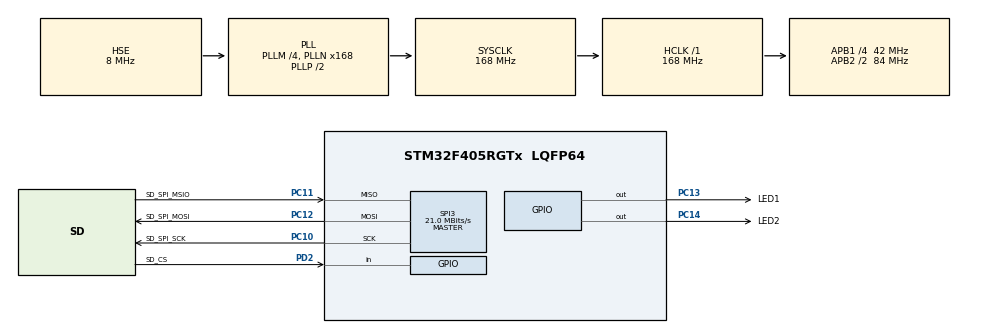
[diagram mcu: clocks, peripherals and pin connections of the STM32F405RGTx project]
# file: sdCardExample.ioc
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FREERTOS.INCLUDE_vTaskDelayUntil=1
FREERTOS.Tasks01=defaultTask,0,128,StartDefaultTask,Default,NULL
Mcu.Family=STM32F4
Mcu.Name=STM32F405RGTx
Mcu.Package=LQFP64
NVIC.PriorityGroup=NVIC_PRIORITYGROUP_4
NVIC.TIM1_UP_TIM10_IRQn=true\:0\:0\:false\:false\:true\:false\:false
NVIC.TimeBase=TIM1_UP_TIM10_IRQn
NVIC.TimeBaseIP=TIM1
PC10.GPIO_Label=SD_SPI_SCK
PC10.Mode=Full_Duplex_Master
PC10.Signal=SPI3_SCK
PC11.GPIO_Label=SD_SPI_MSIO
PC11.Mode=Full_Duplex_Master
PC11.Signal=SPI3_MISO
PC12.GPIO_Label=SD_SPI_MOSI
PC12.Mode=Full_Duplex_Master
PC12.Signal=SPI3_MOSI
PC13-ANTI_TAMP.GPIO_Label=LED1
PC13-ANTI_TAMP.Signal=GPIO_Output
PC14-OSC32_IN.GPIO_Label=LED2
PC14-OSC32_IN.Signal=GPIO_Output
PD2.GPIO_Label=SD_CS
PD2.Signal=GPIO_Input
PH0-OSC_IN.Mode=HSE-External-Oscillator
PH0-OSC_IN.Signal=RCC_OSC_IN
PH1-OSC_OUT.Mode=HSE-External-Oscillator
PH1-OSC_OUT.Signal=RCC_OSC_OUT
ProjectManager.HeapSize=0x200
ProjectManager.StackSize=0x400
ProjectManager.TargetToolchain=SW4STM32
RCC.48MHZClocksFreq_Value=84000000
RCC.AHBFreq_Value=168000000
RCC.APB1CLKDivider=RCC_HCLK_DIV4
RCC.APB1Freq_Value=42000000
RCC.APB1TimFreq_Value=84000000
RCC.APB2CLKDivider=RCC_HCLK_DIV2
RCC.APB2Freq_Value=84000000
RCC.APB2TimFreq_Value=168000000
RCC.CortexFreq_Value=168000000
RCC.HCLKFreq_Value=168000000
RCC.HSE_VALUE=8000000
RCC.HSI_VALUE=16000000
RCC.LSE_VALUE=32768
RCC.PLLM=4
RCC.PLLN=168
RCC.PLLSourceVirtual=RCC_PLLSOURCE_HSE
RCC.SYSCLKFreq_VALUE=168000000
RCC.SYSCLKSource=RCC_SYSCLKSOURCE_PLLCLK
RCC.VCOOutputFreq_Value=336000000
SPI3.CalculateBaudRate=21.0 MBits/s
SPI3.Direction=SPI_DIRECTION_2LINES
SPI3.Mode=SPI_MODE_MASTER
SPI3.VirtualType=VM_MASTER
VP_FREERTOS_VS_ENABLE.Mode=Enabled
VP_SYS_VS_tim1.Mode=TIM1
board=sdCardExample

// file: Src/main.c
/**
  ******************************************************************************
  * @file           : main.c
  * @brief          : Main program body
  ******************************************************************************
  * This notice applies to any and all portions of this file
  * that are not between comment pairs USER CODE BEGIN and
  * USER CODE END. Other portions of this file, whether
  * inserted by the user or by software development tools
  * are owned by their respective copyright owners.
  *
  * Copyright (c) 2018 STMicroelectronics International N.V.
  * All rights reserved.
  *
  * Redistribution and use in source and binary forms, with or without
  * modification, are permitted, provided that the following conditions are met:
  *
  * 1. Redistribution of source code must retain the above copyright notice,
  *    this list of conditions and the following disclaimer.
  * 2. Redistributions in binary form must reproduce the above copyright notice,
  *    this list of conditions and the following disclaimer in the documentation
  *    and/or other materials provided with the distribution.
  * 3. Neither the name of STMicroelectronics nor the names of other
  *    contributors to this software may be used to endorse or promote products
  *    derived from this software without specific written permission.
  * 4. This software, including modifications and/or derivative works of this
  *    software, must execute solely and exclusively on microcontroller or
  *    microprocessor devices manufactured by or for STMicroelectronics.
  * 5. Redistribution and use of this software other than as permitted under
  *    this license is void and will automatically terminate your rights under
  *    this license.
  *
  * THIS SOFTWARE IS PROVIDED BY STMICROELECTRONICS AND CONTRIBUTORS "AS IS"
  * AND ANY EXPRESS, IMPLIED OR STATUTORY WARRANTIES, INCLUDING, BUT NOT
  * LIMITED TO, THE IMPLIED WARRANTIES OF MERCHANTABILITY, FITNESS FOR A
  * PARTICULAR PURPOSE AND NON-INFRINGEMENT OF THIRD PARTY INTELLECTUAL PROPERTY
  * RIGHTS ARE DISCLAIMED TO THE FULLEST EXTENT PERMITTED BY LAW. IN NO EVENT
  * SHALL STMICROELECTRONICS OR CONTRIBUTORS BE LIABLE FOR ANY DIRECT, INDIRECT,
  * INCIDENTAL, SPECIAL, EXEMPLARY, OR CONSEQUENTIAL DAMAGES (INCLUDING, BUT NOT
  * LIMITED TO, PROCUREMENT OF SUBSTITUTE GOODS OR SERVICES; LOSS OF USE, DATA,
  * OR PROFITS; OR BUSINESS INTERRUPTION) HOWEVER CAUSED AND ON ANY THEORY OF
  * LIABILITY, WHETHER IN CONTRACT, STRICT LIABILITY, OR TORT (INCLUDING
  * NEGLIGENCE OR OTHERWISE) ARISING IN ANY WAY OUT OF THE USE OF THIS SOFTWARE,
  * EVEN IF ADVISED OF THE POSSIBILITY OF SUCH DAMAGE.
  *
  ******************************************************************************
  */
#include "main.h"
#include "stm32f4xx_hal.h"
#include "cmsis_os.h"

#include "defines.h"
#include "tm_stm32_delay.h"
#include "tm_stm32_fatfs.h"

#include <stdio.h>

uint8_t response = 0x25;
SPI_HandleTypeDef hspi3;

osThreadId defaultTaskHandle;

/* USER CODE BEGIN PV */
/* Private variables ---------------------------------------------------------*/
/* Fatfs object */
FATFS FS;
FIL fil;
FRESULT fres;
TM_FATFS_Size_t CardSize;
char buffer[100];

/* USER CODE END PV */

void SystemClock_Config(void);
static void MX_GPIO_Init(void);
static void MX_SPI3_Init(void);
void StartDefaultTask(void const * argument);

/* USER CODE BEGIN PFP */
/* Private function prototypes -----------------------------------------------*/

/* USER CODE END PFP */

int main(void)
{

  /* MCU Configuration----------------------------------------------------------*/

  /* Reset of all peripherals, Initializes the Flash interface and the Systick. */
  HAL_Init();

  /* Configure the system clock */
  SystemClock_Config();

  /* Initialize all configured peripherals */
  MX_GPIO_Init();
  MX_SPI3_Init();
  /* USER CODE BEGIN 2 */
  HAL_GPIO_WritePin(LED1_GPIO_Port, LED1_Pin, 0);
  // HAL_GPIO_WritePin(SD_CS_GPIO_Port, SD_CS_Pin, 0);

  if (f_mount(&FS, "SD:", 1) == FR_OK) {
    HAL_GPIO_WritePin(LED1_GPIO_Port, LED1_Pin, 1);
    if ((fres = f_open(&fil, "SD:first_file.txt", FA_OPEN_ALWAYS | FA_READ | FA_WRITE)) == FR_OK) {
        // Read SDCARD size
        TM_FATFS_GetDriveSize("SD:", &CardSize);
        // Format string
        sprintf(buffer, "BITCH Total card size: %u kBytes\n", CardSize.Total);
        // Write total card size to file
        f_puts(buffer, &fil);
        // Format string for free card size
        sprintf(buffer, "Free card size:  %u kBytes\n", CardSize.Free);
        // Write free card size to file
        f_puts(buffer, &fil);
        // Close file
        f_close(&fil);
    }
    f_mount(NULL, "SD:", 1);
  }

  /* USER CODE END 2 */

  /* Create the thread(s) */
  /* definition and creation of defaultTask */
  osThreadDef(defaultTask, StartDefaultTask, osPriorityNormal, 0, 128);
  defaultTaskHandle = osThreadCreate(osThread(defaultTask), NULL);

  /* Start scheduler */
  osKernelStart();

  /* We should never get here as control is now taken by the scheduler */

  /* Infinite loop */
  while (1)
  {

  }

}

void SystemClock_Config(void)
{

  RCC_OscInitTypeDef RCC_OscInitStruct;
  RCC_ClkInitTypeDef RCC_ClkInitStruct;

    /**Configure the main internal regulator output voltage
    */
  __HAL_RCC_PWR_CLK_ENABLE();

  __HAL_PWR_VOLTAGESCALING_CONFIG(PWR_REGULATOR_VOLTAGE_SCALE1);

    /**Initializes the CPU, AHB and APB busses clocks
    */
  RCC_OscInitStruct.OscillatorType = RCC_OSCILLATORTYPE_HSE;
  RCC_OscInitStruct.HSEState = RCC_HSE_ON;
  RCC_OscInitStruct.PLL.PLLState = RCC_PLL_ON;
  RCC_OscInitStruct.PLL.PLLSource = RCC_PLLSOURCE_HSE;
  RCC_OscInitStruct.PLL.PLLM = 4;
  RCC_OscInitStruct.PLL.PLLN = 168;
  RCC_OscInitStruct.PLL.PLLP = RCC_PLLP_DIV2;
  RCC_OscInitStruct.PLL.PLLQ = 4;
  if (HAL_RCC_OscConfig(&RCC_OscInitStruct) != HAL_OK)
  {
    _Error_Handler(__FILE__, __LINE__);
  }

    /**Initializes the CPU, AHB and APB busses clocks
    */
  RCC_ClkInitStruct.ClockType = RCC_CLOCKTYPE_HCLK|RCC_CLOCKTYPE_SYSCLK
                              |RCC_CLOCKTYPE_PCLK1|RCC_CLOCKTYPE_PCLK2;
  RCC_ClkInitStruct.SYSCLKSource = RCC_SYSCLKSOURCE_PLLCLK;
  RCC_ClkInitStruct.AHBCLKDivider = RCC_SYSCLK_DIV1;
  RCC_ClkInitStruct.APB1CLKDivider = RCC_HCLK_DIV4;
  RCC_ClkInitStruct.APB2CLKDivider = RCC_HCLK_DIV2;

  if (HAL_RCC_ClockConfig(&RCC_ClkInitStruct, FLASH_LATENCY_5) != HAL_OK)
  {
    _Error_Handler(__FILE__, __LINE__);
  }

    /**Configure the Systick interrupt time
    */
  HAL_SYSTICK_Config(HAL_RCC_GetHCLKFreq()/1000);

    /**Configure the Systick
    */
  HAL_SYSTICK_CLKSourceConfig(SYSTICK_CLKSOURCE_HCLK);

  /* SysTick_IRQn interrupt configuration */
  HAL_NVIC_SetPriority(SysTick_IRQn, 15, 0);
}

/* SPI3 init function */
static void MX_SPI3_Init(void)
{

  /* SPI3 parameter configuration*/
  hspi3.Instance = SPI3;
  hspi3.Init.Mode = SPI_MODE_MASTER;
  hspi3.Init.Direction = SPI_DIRECTION_2LINES;
  hspi3.Init.DataSize = SPI_DATASIZE_8BIT;
  hspi3.Init.CLKPolarity = SPI_POLARITY_LOW;
  hspi3.Init.CLKPhase = SPI_PHASE_1EDGE;
  hspi3.Init.NSS = SPI_NSS_SOFT;
  hspi3.Init.BaudRatePrescaler = SPI_BAUDRATEPRESCALER_4;
  hspi3.Init.FirstBit = SPI_FIRSTBIT_MSB;
  hspi3.Init.TIMode = SPI_TIMODE_DISABLE;
  hspi3.Init.CRCCalculation = SPI_CRCCALCULATION_DISABLE;
  hspi3.Init.CRCPolynomial = 10;
  if (HAL_SPI_Init(&hspi3) != HAL_OK)
  {
    _Error_Handler(__FILE__, __LINE__);
  }

}

/** Configure pins as
        * Analog
        * Input
        * Output
        * EVENT_OUT
        * EXTI
*/
static void MX_GPIO_Init(void)
{

  GPIO_InitTypeDef GPIO_InitStruct;

  /* GPIO Ports Clock Enable */
  __HAL_RCC_GPIOC_CLK_ENABLE();
  __HAL_RCC_GPIOH_CLK_ENABLE();
  __HAL_RCC_GPIOD_CLK_ENABLE();

  /*Configure GPIO pin Output Level */
  HAL_GPIO_WritePin(GPIOC, LED1_Pin|LED2_Pin, GPIO_PIN_RESET);

  /*Configure GPIO pins : LED1_Pin LED2_Pin */
  GPIO_InitStruct.Pin = LED1_Pin|LED2_Pin;
  GPIO_InitStruct.Mode = GPIO_MODE_OUTPUT_PP;
  GPIO_InitStruct.Pull = GPIO_NOPULL;
  GPIO_InitStruct.Speed = GPIO_SPEED_FREQ_LOW;
  HAL_GPIO_Init(GPIOC, &GPIO_InitStruct);

  /*Configure GPIO pin : SD_CS_Pin */
  GPIO_InitStruct.Pin = SD_CS_Pin;
  GPIO_InitStruct.Mode = GPIO_MODE_INPUT;
  GPIO_InitStruct.Pull = GPIO_NOPULL;
  HAL_GPIO_Init(SD_CS_GPIO_Port, &GPIO_InitStruct);

}

/* StartDefaultTask function */
void StartDefaultTask(void const * argument)
{

  /* USER CODE BEGIN 5 */
  /* Infinite loop */
  uint32_t prevWakeTime = osKernelSysTick();

  for (;;)
  {
    osDelayUntil(&prevWakeTime, 250);
    HAL_GPIO_TogglePin(LED2_GPIO_Port, LED2_Pin);
  }
  /* USER CODE END 5 */
}

void HAL_TIM_PeriodElapsedCallback(TIM_HandleTypeDef *htim)
{
  if (htim->Instance == TIM1) {
    HAL_IncTick();
  }
}

void _Error_Handler(char *file, int line)
{
  while(1)
  {
  }
}

/************************ (C) COPYRIGHT STMicroelectronics *****END OF FILE****/
